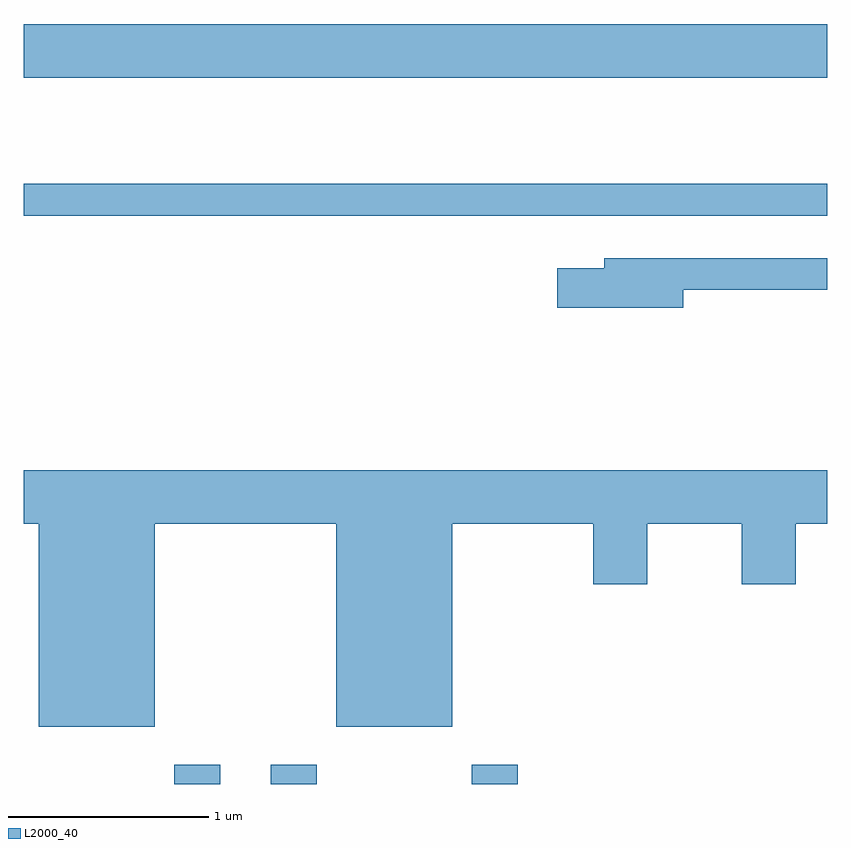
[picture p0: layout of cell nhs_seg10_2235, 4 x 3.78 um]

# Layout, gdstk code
import gdstk
lib = gdstk.Library(unit=1e-6, precision=1e-09)
def R(c, l, rs):  # rectangles x0, y0, x1, y1
    for r in rs: c.add(gdstk.rectangle(r[:2], r[2:], *l))
def P(c, l, *ps):  # polygons
    for p in ps: c.add(gdstk.Polygon(p, *l))
L2000_40 = (2000, 40)

nhs_seg10_2235 = lib.new_cell('nhs_seg10_2235')
R(nhs_seg10_2235, L2000_40, [(250.361,2212.522,250.589,2212.619), (250.841,2212.522,251.069,2212.619), (251.841,2212.522,252.069,2212.619), (249.611,2215.351,253.611,2215.509), (249.611,2216.036,253.611,2216.304)])
P(nhs_seg10_2235, L2000_40, [(252.894,2214.981),(253.611,2214.981),(253.611,2215.139),(252.501,2215.139),(252.501,2215.089),(252.266,2215.089),(252.266,2214.891),(252.894,2214.891)],
  [(250.264,2213.816),(251.166,2213.816),(251.166,2212.806),(251.744,2212.806),(251.744,2213.816),(252.446,2213.816),(252.446,2213.516),(252.714,2213.516),(252.714,2213.816),(253.186,2213.816),(253.186,2213.516),(253.454,2213.516),(253.454,2213.816),(253.611,2213.816),(253.611,2214.084),(249.611,2214.084),(249.611,2213.816),(249.686,2213.816),(249.686,2212.806),(250.264,2212.806)])

lib.write_gds('nhs_seg10_2235.gds')
